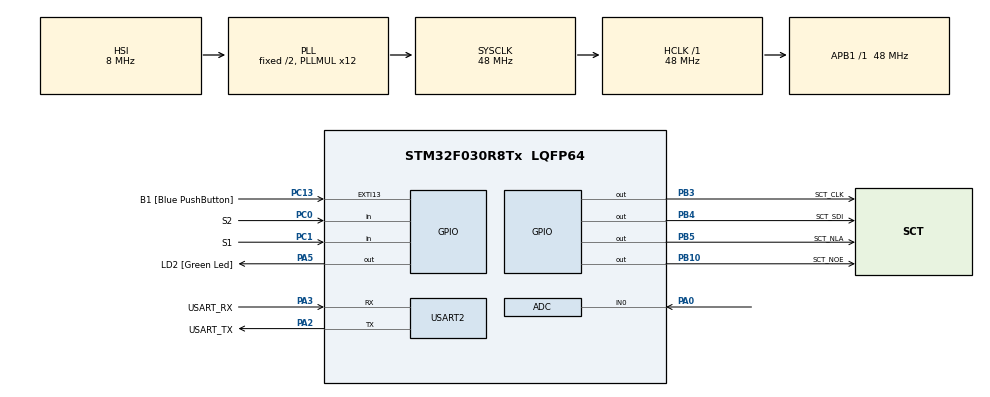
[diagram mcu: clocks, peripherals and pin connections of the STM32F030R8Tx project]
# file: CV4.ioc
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ADC.ContinuousConvMode=ENABLE
ADC.Overrun=ADC_OVR_DATA_OVERWRITTEN
ADC.SamplingTime=ADC_SAMPLETIME_239CYCLES_5
Mcu.Family=STM32F0
Mcu.Name=STM32F030R8Tx
Mcu.Package=LQFP64
NVIC.ADC1_IRQn=true\:0\:0\:false\:false\:true\:true\:true\:true
PA0.Mode=IN0
PA0.Signal=ADC_IN0
PA13.GPIO_Label=TMS
PA13.Mode=Serial_Wire
PA13.Signal=SYS_SWDIO
PA14.GPIO_Label=TCK
PA14.Mode=Serial_Wire
PA14.Signal=SYS_SWCLK
PA2.GPIO_Label=USART_TX
PA2.GPIO_Mode=GPIO_MODE_AF_PP
PA2.GPIO_PuPd=GPIO_NOPULL
PA2.GPIO_Speed=GPIO_SPEED_FREQ_LOW
PA2.Mode=Asynchronous
PA2.Signal=USART2_TX
PA3.GPIO_Label=USART_RX
PA3.GPIO_Mode=GPIO_MODE_AF_PP
PA3.GPIO_PuPd=GPIO_NOPULL
PA3.GPIO_Speed=GPIO_SPEED_FREQ_LOW
PA3.Mode=Asynchronous
PA3.Signal=USART2_RX
PA5.GPIO_Label=LD2 [Green Led]
PA5.GPIO_Mode=GPIO_MODE_OUTPUT_PP
PA5.GPIO_PuPd=GPIO_NOPULL
PA5.GPIO_Speed=GPIO_SPEED_FREQ_LOW
PA5.Signal=GPIO_Output
PB10.GPIO_Label=SCT_NOE
PB10.Signal=GPIO_Output
PB3.GPIO_Label=SCT_CLK
PB3.Signal=GPIO_Output
PB4.GPIO_Label=SCT_SDI
PB4.Signal=GPIO_Output
PB5.GPIO_Label=SCT_NLA
PB5.Signal=GPIO_Output
PC0.GPIO_Label=S2
PC0.GPIO_PuPd=GPIO_PULLUP
PC0.Signal=GPIO_Input
PC1.GPIO_Label=S1
PC1.GPIO_PuPd=GPIO_PULLUP
PC1.Signal=GPIO_Input
PC13.GPIO_Label=B1 [Blue PushButton]
PC13.GPIO_ModeDefaultEXTI=GPIO_MODE_IT_FALLING
PC13.Signal=GPXTI13
PC14-OSC32_IN.Mode=LSE-External-Oscillator
PC14-OSC32_IN.Signal=RCC_OSC32_IN
PC15-OSC32_OUT.Mode=LSE-External-Oscillator
PC15-OSC32_OUT.Signal=RCC_OSC32_OUT
PF0-OSC_IN.Mode=HSE-External-Clock-Source
PF0-OSC_IN.Signal=RCC_OSC_IN
PF1-OSC_OUT.Signal=RCC_OSC_OUT
ProjectManager.HeapSize=0x200
ProjectManager.StackSize=0x400
ProjectManager.TargetToolchain=STM32CubeIDE
RCC.AHBFreq_Value=48000000
RCC.APB1Freq_Value=48000000
RCC.APB1TimFreq_Value=48000000
RCC.HCLKFreq_Value=48000000
RCC.PLLMUL=RCC_PLL_MUL12
RCC.SYSCLKFreq_VALUE=48000000
RCC.SYSCLKSource=RCC_SYSCLKSOURCE_PLLCLK
USART2.VirtualMode-Asynchronous=VM_ASYNC
VP_ADC_TempSens_Input.Mode=IN-TempSens
VP_ADC_Vref_Input.Mode=IN-Vrefint
board=NUCLEO-F030R8

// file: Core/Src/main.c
/* USER CODE BEGIN Header */
/**
 ******************************************************************************
 * @file           : main.c
 * @brief          : Main program body
 ******************************************************************************
 * @attention
 *
 * Copyright (c) 2023 STMicroelectronics.
 * All rights reserved.
 *
 * This software is licensed under terms that can be found in the LICENSE file
 * in the root directory of this software component.
 * If no LICENSE file comes with this software, it is provided AS-IS.
 *
 ******************************************************************************
 */
/* USER CODE END Header */
#include "main.h"

/* USER CODE BEGIN Includes */
#include "sct.h"
/* USER CODE END Includes */

/* USER CODE BEGIN PD */
#define ADC_Q	12
/* Temperature sensor calibration value address */
#define TEMP110_CAL_ADDR ((uint16_t*) ((uint32_t) 0x1FFFF7C2))
#define TEMP30_CAL_ADDR ((uint16_t*) ((uint32_t) 0x1FFFF7B8))
/* Internal voltage reference calibration value address */
#define VREFINT_CAL_ADDR ((uint16_t*) ((uint32_t) 0x1FFFF7BA))
/* USER CODE END PD */

ADC_HandleTypeDef hadc;

UART_HandleTypeDef huart2;

/* USER CODE BEGIN PV */
static volatile uint32_t raw_pot;
static volatile uint32_t raw_temp;
static volatile uint32_t raw_volt;

static volatile uint32_t avg_pot;

/* USER CODE END PV */

void SystemClock_Config(void);
static void MX_GPIO_Init(void);
static void MX_USART2_UART_Init(void);
static void MX_ADC_Init(void);

/* USER CODE BEGIN 0 */
void HAL_ADC_ConvCpltCallback(ADC_HandleTypeDef *hadc) //lokálna premenná
{
	static uint8_t channel;

	if (channel == 0) {
		raw_pot = HAL_ADC_GetValue(hadc);

		raw_pot = avg_pot >> ADC_Q; //bitový posun o adc_q bitov -> 12
		avg_pot -= raw_pot;	//odčíta sa stará hodnota priemeru posunutá o 12 bitov
		avg_pot += HAL_ADC_GetValue(hadc); //pripočíta sa nová získaná hodnota
	} else if (channel == 1) {
		raw_temp = HAL_ADC_GetValue(hadc);
	} else if (channel == 2) {
		raw_volt = HAL_ADC_GetValue(hadc);
	}

	if (__HAL_ADC_GET_FLAG(hadc, ADC_FLAG_EOS))
		channel = 0; //keď prebehne prevod cez všetky kanály. nastaví sa na 0
	else
		channel++; //prepínanie kanálu, ak ešte neprebehol prevod pre všetky

}
/* USER CODE END 0 */

int main(void) {

	/* MCU Configuration--------------------------------------------------------*/

	/* Reset of all peripherals, Initializes the Flash interface and the Systick. */
	HAL_Init();

	/* Configure the system clock */
	SystemClock_Config();

	/* Initialize all configured peripherals */
	MX_GPIO_Init();
	MX_USART2_UART_Init();
	MX_ADC_Init();
	/* USER CODE BEGIN 2 */
	sct_init();

	HAL_ADCEx_Calibration_Start(&hadc); // ADC musí byť najprv inicializovaný
	HAL_ADC_Start_IT(&hadc);

	/* USER CODE END 2 */

	/* Infinite loop */
	while (1) {

		/* USER CODE BEGIN 3 */
		static enum {
			SHOW_POT, SHOW_VOLT, SHOW_TEMP
		} state = SHOW_POT;

		static uint32_t delay;

		//kontrola S1 a S2
		if (HAL_GPIO_ReadPin(S1_GPIO_Port, S1_Pin) == 0) {
			delay = HAL_GetTick();
			state = SHOW_VOLT;
		} else if (HAL_GPIO_ReadPin(S2_GPIO_Port, S2_Pin) == 0) {
			delay = HAL_GetTick();
			state = SHOW_TEMP;
		}

		//definícia stavov a činnosti počas nich
		if (state == SHOW_POT) {
			sct_value(raw_pot * 500/4096, raw_pot * 9/4096);
			//HAL_Delay(50);
		} else if (state == SHOW_TEMP) {
			int32_t temperature = (raw_temp - (int32_t) (*TEMP30_CAL_ADDR));
			temperature = temperature * (int32_t) (110 - 30);
			temperature = temperature
					/ (int32_t) (*TEMP110_CAL_ADDR - *TEMP30_CAL_ADDR);
			temperature = temperature + 30;

			sct_value(temperature, raw_temp * 9/4096);
			if (HAL_GetTick() > delay + 1000) {
				state = SHOW_POT;
			}
		} else if (state == SHOW_VOLT) {
			uint32_t voltage = 330 * (*VREFINT_CAL_ADDR) / raw_volt;

			sct_value(voltage, raw_volt * 9/4096);
			if (HAL_GetTick() > delay + 1000) {
				state = SHOW_POT;
			}
		}
	}
	/* USER CODE END 3 */
}

void SystemClock_Config(void) {
	RCC_OscInitTypeDef RCC_OscInitStruct = { 0 };
	RCC_ClkInitTypeDef RCC_ClkInitStruct = { 0 };

	/** Initializes the RCC Oscillators according to the specified parameters
	 * in the RCC_OscInitTypeDef structure.
	 */
	RCC_OscInitStruct.OscillatorType = RCC_OSCILLATORTYPE_HSI
			| RCC_OSCILLATORTYPE_HSI14;
	RCC_OscInitStruct.HSIState = RCC_HSI_ON;
	RCC_OscInitStruct.HSI14State = RCC_HSI14_ON;
	RCC_OscInitStruct.HSICalibrationValue = RCC_HSICALIBRATION_DEFAULT;
	RCC_OscInitStruct.HSI14CalibrationValue = 16;
	RCC_OscInitStruct.PLL.PLLState = RCC_PLL_ON;
	RCC_OscInitStruct.PLL.PLLSource = RCC_PLLSOURCE_HSI;
	RCC_OscInitStruct.PLL.PLLMUL = RCC_PLL_MUL12;
	RCC_OscInitStruct.PLL.PREDIV = RCC_PREDIV_DIV1;
	if (HAL_RCC_OscConfig(&RCC_OscInitStruct) != HAL_OK) {
		Error_Handler();
	}

	/** Initializes the CPU, AHB and APB buses clocks
	 */
	RCC_ClkInitStruct.ClockType = RCC_CLOCKTYPE_HCLK | RCC_CLOCKTYPE_SYSCLK
			| RCC_CLOCKTYPE_PCLK1;
	RCC_ClkInitStruct.SYSCLKSource = RCC_SYSCLKSOURCE_PLLCLK;
	RCC_ClkInitStruct.AHBCLKDivider = RCC_SYSCLK_DIV1;
	RCC_ClkInitStruct.APB1CLKDivider = RCC_HCLK_DIV1;

	if (HAL_RCC_ClockConfig(&RCC_ClkInitStruct, FLASH_LATENCY_1) != HAL_OK) {
		Error_Handler();
	}
}

static void MX_ADC_Init(void) {

	ADC_ChannelConfTypeDef sConfig = { 0 };

	/** Configure the global features of the ADC (Clock, Resolution, Data Alignment and number of conversion)
	 */
	hadc.Instance = ADC1;
	hadc.Init.ClockPrescaler = ADC_CLOCK_ASYNC_DIV1;
	hadc.Init.Resolution = ADC_RESOLUTION_12B;
	hadc.Init.DataAlign = ADC_DATAALIGN_RIGHT;
	hadc.Init.ScanConvMode = ADC_SCAN_DIRECTION_FORWARD;
	hadc.Init.EOCSelection = ADC_EOC_SINGLE_CONV;
	hadc.Init.LowPowerAutoWait = DISABLE;
	hadc.Init.LowPowerAutoPowerOff = DISABLE;
	hadc.Init.ContinuousConvMode = ENABLE;
	hadc.Init.DiscontinuousConvMode = DISABLE;
	hadc.Init.ExternalTrigConv = ADC_SOFTWARE_START;
	hadc.Init.ExternalTrigConvEdge = ADC_EXTERNALTRIGCONVEDGE_NONE;
	hadc.Init.DMAContinuousRequests = DISABLE;
	hadc.Init.Overrun = ADC_OVR_DATA_OVERWRITTEN;
	if (HAL_ADC_Init(&hadc) != HAL_OK) {
		Error_Handler();
	}

	/** Configure for the selected ADC regular channel to be converted.
	 */
	sConfig.Channel = ADC_CHANNEL_0;
	sConfig.Rank = ADC_RANK_CHANNEL_NUMBER;
	sConfig.SamplingTime = ADC_SAMPLETIME_239CYCLES_5;
	if (HAL_ADC_ConfigChannel(&hadc, &sConfig) != HAL_OK) {
		Error_Handler();
	}

	/** Configure for the selected ADC regular channel to be converted.
	 */
	sConfig.Channel = ADC_CHANNEL_TEMPSENSOR;
	if (HAL_ADC_ConfigChannel(&hadc, &sConfig) != HAL_OK) {
		Error_Handler();
	}

	/** Configure for the selected ADC regular channel to be converted.
	 */
	sConfig.Channel = ADC_CHANNEL_VREFINT;
	if (HAL_ADC_ConfigChannel(&hadc, &sConfig) != HAL_OK) {
		Error_Handler();
	}

}

static void MX_USART2_UART_Init(void) {

	huart2.Instance = USART2;
	huart2.Init.BaudRate = 38400;
	huart2.Init.WordLength = UART_WORDLENGTH_8B;
	huart2.Init.StopBits = UART_STOPBITS_1;
	huart2.Init.Parity = UART_PARITY_NONE;
	huart2.Init.Mode = UART_MODE_TX_RX;
	huart2.Init.HwFlowCtl = UART_HWCONTROL_NONE;
	huart2.Init.OverSampling = UART_OVERSAMPLING_16;
	huart2.Init.OneBitSampling = UART_ONE_BIT_SAMPLE_DISABLE;
	huart2.AdvancedInit.AdvFeatureInit = UART_ADVFEATURE_NO_INIT;
	if (HAL_UART_Init(&huart2) != HAL_OK) {
		Error_Handler();
	}

}

static void MX_GPIO_Init(void) {
	GPIO_InitTypeDef GPIO_InitStruct = { 0 };

	/* GPIO Ports Clock Enable */
	__HAL_RCC_GPIOC_CLK_ENABLE();
	__HAL_RCC_GPIOF_CLK_ENABLE();
	__HAL_RCC_GPIOA_CLK_ENABLE();
	__HAL_RCC_GPIOB_CLK_ENABLE();

	/*Configure GPIO pin Output Level */
	HAL_GPIO_WritePin(LD2_GPIO_Port, LD2_Pin, GPIO_PIN_RESET);

	/*Configure GPIO pin Output Level */
	HAL_GPIO_WritePin(GPIOB,
	SCT_NOE_Pin | SCT_CLK_Pin | SCT_SDI_Pin | SCT_NLA_Pin, GPIO_PIN_RESET);

	/*Configure GPIO pin : B1_Pin */
	GPIO_InitStruct.Pin = B1_Pin;
	GPIO_InitStruct.Mode = GPIO_MODE_IT_FALLING;
	GPIO_InitStruct.Pull = GPIO_NOPULL;
	HAL_GPIO_Init(B1_GPIO_Port, &GPIO_InitStruct);

	/*Configure GPIO pins : S2_Pin S1_Pin */
	GPIO_InitStruct.Pin = S2_Pin | S1_Pin;
	GPIO_InitStruct.Mode = GPIO_MODE_INPUT;
	GPIO_InitStruct.Pull = GPIO_PULLUP;
	HAL_GPIO_Init(GPIOC, &GPIO_InitStruct);

	/*Configure GPIO pin : LD2_Pin */
	GPIO_InitStruct.Pin = LD2_Pin;
	GPIO_InitStruct.Mode = GPIO_MODE_OUTPUT_PP;
	GPIO_InitStruct.Pull = GPIO_NOPULL;
	GPIO_InitStruct.Speed = GPIO_SPEED_FREQ_LOW;
	HAL_GPIO_Init(LD2_GPIO_Port, &GPIO_InitStruct);

	/*Configure GPIO pins : SCT_NOE_Pin SCT_CLK_Pin SCT_SDI_Pin SCT_NLA_Pin */
	GPIO_InitStruct.Pin = SCT_NOE_Pin | SCT_CLK_Pin | SCT_SDI_Pin | SCT_NLA_Pin;
	GPIO_InitStruct.Mode = GPIO_MODE_OUTPUT_PP;
	GPIO_InitStruct.Pull = GPIO_NOPULL;
	GPIO_InitStruct.Speed = GPIO_SPEED_FREQ_LOW;
	HAL_GPIO_Init(GPIOB, &GPIO_InitStruct);

}

void Error_Handler(void) {
	__disable_irq();
	while (1) {
	}
}
